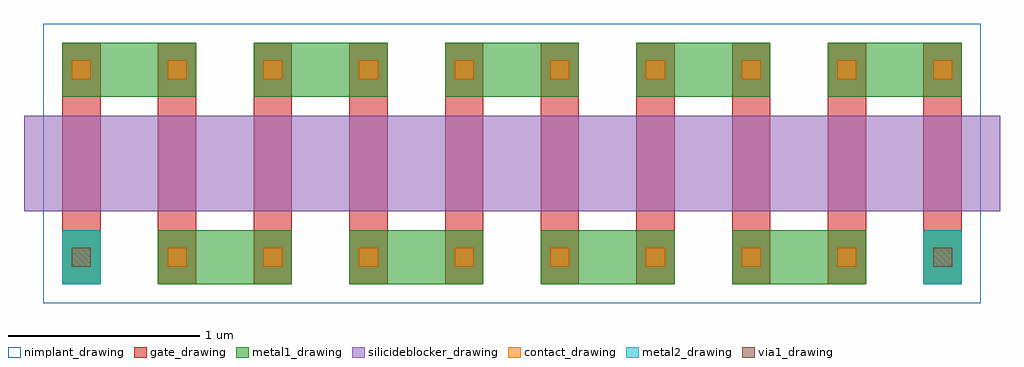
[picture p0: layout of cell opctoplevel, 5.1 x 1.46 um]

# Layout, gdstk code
import gdstk
lib = gdstk.Library(unit=1e-6, precision=1e-09)
def R(c, l, rs):  # rectangles x0, y0, x1, y1
    for r in rs: c.add(gdstk.rectangle(r[:2], r[2:], *l))
def A(c, l, x, y, w, h, nx, ny, dx, dy):  # array of equal rectangles
    R(c, l, [(x+i*dx, y+j*dy, x+i*dx+w, y+j*dy+h) for i in range(nx) for j in range(ny)])
nimplant_drawing = (5, 0)
gate_drawing = (6, 0)
contact_drawing = (7, 0)
metal1_drawing = (8, 0)
via1_drawing = (9, 0)
metal2_drawing = (10, 0)
silicideblocker_drawing = (28, 0)

opctoplevel = lib.new_cell('opctoplevel')
R(opctoplevel, nimplant_drawing, [(-0.1,-0.1,4.8,1.36)])
A(opctoplevel, gate_drawing, 0, 0, 0.2, 1.26, 10, 1, 0.5, 0)
A(opctoplevel, gate_drawing, 0, 0, 0.2, 0.28, 10, 2, 0.5, 0.98)
A(opctoplevel, contact_drawing, 0.05, 0.09, 0.1, 0.1, 10, 2, 0.5, 0.98)
A(opctoplevel, metal1_drawing, 0, 0, 0.2, 0.28, 10, 2, 0.5, 0.98)
A(opctoplevel, metal1_drawing, 0.5, 0, 0.7, 0.28, 4, 1, 1, 0)
A(opctoplevel, metal1_drawing, 0, 0.98, 0.7, 0.28, 5, 1, 1, 0)
R(opctoplevel, metal1_drawing, [(0,0,0.2,0.28), (4.5,0,4.7,0.28)])
R(opctoplevel, via1_drawing, [(0.05,0.09,0.15,0.19), (4.55,0.09,4.65,0.19)])
R(opctoplevel, metal2_drawing, [(0,0,0.2,0.28), (4.5,0,4.7,0.28)])
R(opctoplevel, silicideblocker_drawing, [(-0.2,0.38,4.9,0.88)])

lib.write_gds('opctoplevel.gds')
